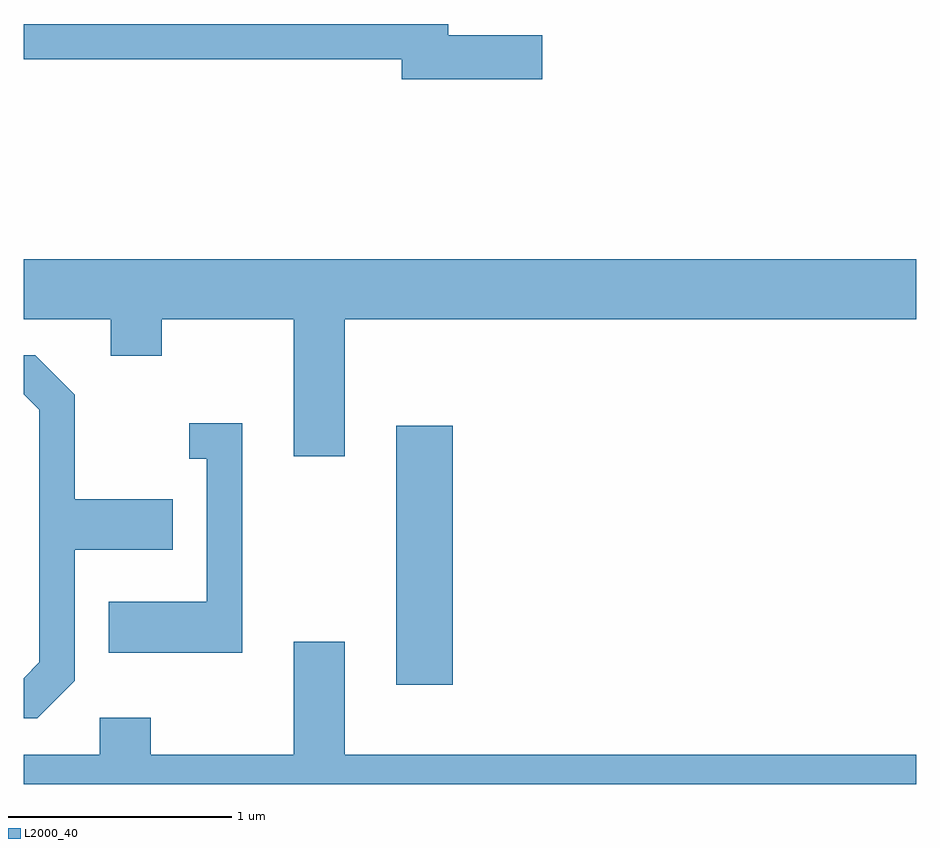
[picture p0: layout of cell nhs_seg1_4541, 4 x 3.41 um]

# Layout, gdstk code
import gdstk
lib = gdstk.Library(unit=1e-6, precision=1e-09)
def R(c, l, rs):  # rectangles x0, y0, x1, y1
    for r in rs: c.add(gdstk.rectangle(r[:2], r[2:], *l))
def P(c, l, *ps):  # polygons
    for p in ps: c.add(gdstk.Polygon(p, *l))
L2000_40 = (2000, 40)

nhs_seg1_4541 = lib.new_cell('nhs_seg1_4541')
R(nhs_seg1_4541, L2000_40, [(323.281,900.156,323.534,901.319)])
P(nhs_seg1_4541, L2000_40, [(323.934,903.069),(323.514,903.069),(323.514,903.119),(321.611,903.119),(321.611,902.961),(323.306,902.961),(323.306,902.871),(323.934,902.871)],
  [(323.049,901.796),(325.611,901.796),(325.611,902.064),(321.611,902.064),(321.611,901.796),(322.001,901.796),(322.001,901.631),(322.229,901.631),(322.229,901.796),(322.821,901.796),(322.821,901.181),(323.049,901.181)],
  [(321.839,900.174),(321.839,900.761),(322.279,900.761),(322.279,900.989),(321.839,900.989),(321.839,901.457),(321.662,901.634),(321.611,901.634),(321.611,901.459),(321.681,901.389),(321.681,900.257),(321.611,900.186),(321.611,900.006),(321.672,900.006)],
  [(322.589,901.329),(322.353,901.329),(322.353,901.171),(322.431,901.171),(322.431,900.529),(321.991,900.529),(321.991,900.301),(322.589,900.301)],
  [(325.611,899.844),(323.049,899.844),(323.049,900.349),(322.821,900.349),(322.821,899.844),(322.179,899.844),(322.179,900.009),(321.951,900.009),(321.951,899.844),(321.611,899.844),(321.611,899.712),(325.611,899.712)])

lib.write_gds('nhs_seg1_4541.gds')
